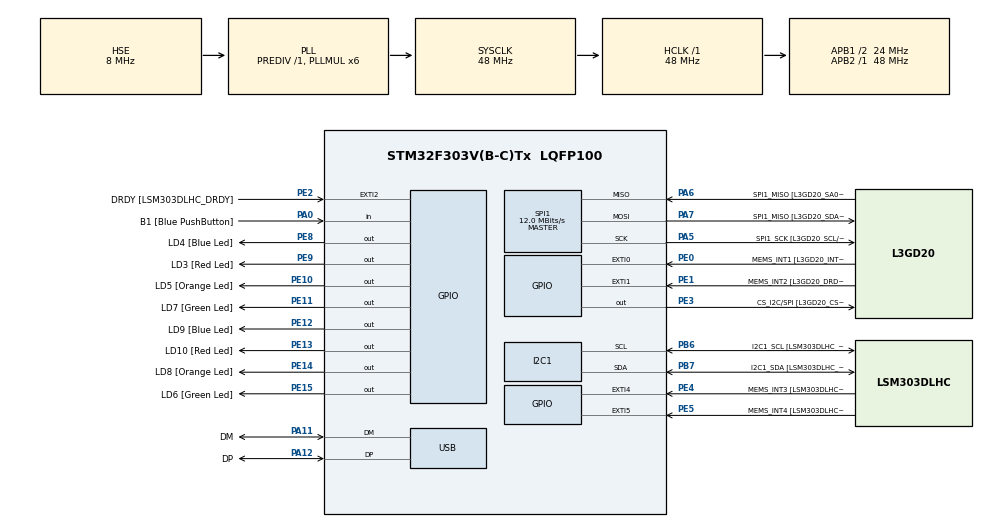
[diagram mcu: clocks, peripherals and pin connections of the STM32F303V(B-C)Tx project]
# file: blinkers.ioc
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I2C1.Timing-I2C=0x2000090E
Mcu.Family=STM32F3
Mcu.Name=STM32F303V(B-C)Tx
Mcu.Package=LQFP100
NVIC.PriorityGroup=NVIC_PRIORITYGROUP_0
PA0.GPIO_Label=B1 [Blue PushButton]
PA0.Signal=GPIO_Input
PA11.GPIO_Label=DM
PA11.Mode=Device
PA11.Signal=USB_DM
PA12.GPIO_Label=DP
PA12.Mode=Device
PA12.Signal=USB_DP
PA13.GPIO_Label=SWDIO
PA13.Mode=Serial_Wire
PA13.Signal=SYS_JTMS-SWDIO
PA14.GPIO_Label=SWCLK
PA14.Mode=Serial_Wire
PA14.Signal=SYS_JTCK-SWCLK
PA5.GPIO_Label=SPI1_SCK [L3GD20_SCL/SPC]
PA5.Mode=Full_Duplex_Master
PA5.Signal=SPI1_SCK
PA6.GPIO_Label=SPI1_MISO [L3GD20_SA0/SDO]
PA6.Mode=Full_Duplex_Master
PA6.Signal=SPI1_MISO
PA7.GPIO_Label=SPI1_MISO [L3GD20_SDA/SDI/SDO]
PA7.Mode=Full_Duplex_Master
PA7.Signal=SPI1_MOSI
PB3.GPIO_Label=SWO
PB3.Signal=SYS_JTDO-TRACESWO
PB6.GPIO_Label=I2C1_SCL [LSM303DLHC_SCL]
PB6.GPIO_Pu=GPIO_PULLUP
PB6.Mode=I2C
PB6.Signal=I2C1_SCL
PB7.GPIO_Label=I2C1_SDA [LSM303DLHC_SDA]
PB7.GPIO_Pu=GPIO_PULLUP
PB7.Mode=I2C
PB7.Signal=I2C1_SDA
PC14-OSC32_IN.GPIO_Label=OSC32_IN
PC14-OSC32_IN.Signal=RCC_OSC32_IN
PC15-OSC32_OUT.GPIO_Label=OSC32_OUT
PC15-OSC32_OUT.Signal=RCC_OSC32_OUT
PE0.GPIO_Label=MEMS_INT1 [L3GD20_INT1]
PE0.GPIO_ModeDefaultEXTI=GPIO_MODE_EVT_RISING
PE0.Signal=GPXTI0
PE1.GPIO_Label=MEMS_INT2 [L3GD20_DRDY/INT2]
PE1.GPIO_ModeDefaultEXTI=GPIO_MODE_EVT_RISING
PE1.Signal=GPXTI1
PE10.GPIO_Label=LD5 [Orange Led]
PE10.Signal=GPIO_Output
PE11.GPIO_Label=LD7 [Green Led]
PE11.Signal=GPIO_Output
PE12.GPIO_Label=LD9 [Blue Led]
PE12.Signal=GPIO_Output
PE13.GPIO_Label=LD10 [Red Led]
PE13.Signal=GPIO_Output
PE14.GPIO_Label=LD8 [Orange Led]
PE14.Signal=GPIO_Output
PE15.GPIO_Label=LD6 [Green Led]
PE15.Signal=GPIO_Output
PE2.GPIO_Label=DRDY [LSM303DLHC_DRDY]
PE2.GPIO_ModeDefaultEXTI=GPIO_MODE_EVT_RISING
PE2.Signal=GPXTI2
PE3.GPIO_Label=CS_I2C/SPI [L3GD20_CS_I2C/SPI]
PE3.Signal=GPIO_Output
PE4.GPIO_Label=MEMS_INT3 [LSM303DLHC_INT1]
PE4.GPIO_ModeDefaultEXTI=GPIO_MODE_EVT_RISING
PE4.Signal=GPXTI4
PE5.GPIO_Label=MEMS_INT4 [LSM303DLHC_INT2]
PE5.GPIO_ModeDefaultEXTI=GPIO_MODE_EVT_RISING
PE5.Signal=GPXTI5
PE8.GPIO_Label=LD4 [Blue Led]
PE8.Signal=GPIO_Output
PE9.GPIO_Label=LD3 [Red Led]
PE9.Signal=GPIO_Output
PF0-OSC_IN.GPIO_Label=OSC_IN
PF0-OSC_IN.Mode=HSE-External-Clock-Source
PF0-OSC_IN.Signal=RCC_OSC_IN
PF1-OSC_OUT.GPIO_Label=OSC_OUT
PF1-OSC_OUT.Signal=RCC_OSC_OUT
ProjectManager.HeapSize=0x200
ProjectManager.StackSize=0x400
ProjectManager.TargetToolchain=STM32CubeIDE
RCC.AHBFreq_Value=48000000
RCC.APB1CLKDivider=RCC_HCLK_DIV2
RCC.APB1Freq_Value=24000000
RCC.APB1TimFreq_Value=48000000
RCC.APB2Freq_Value=48000000
RCC.APB2TimFreq_Value=48000000
RCC.CortexFreq_Value=48000000
RCC.HCLKFreq_Value=48000000
RCC.HSE_VALUE=8000000
RCC.HSI_VALUE=8000000
RCC.LSE_VALUE=32768
RCC.PLLMUL=RCC_PLL_MUL6
RCC.SYSCLKFreq_VALUE=48000000
RCC.SYSCLKSourceVirtual=RCC_SYSCLKSOURCE_PLLCLK
RCC.USBFreq_Value=48000000
SPI1.BaudRatePrescaler=SPI_BAUDRATEPRESCALER_4
SPI1.BaudRatePrescaler-Full_Duplex_Master=SPI_BAUDRATEPRESCALER_2
SPI1.CalculateBaudRate=12.0 MBits/s
SPI1.CalculateBaudRate-Full_Duplex_Master=24.0 MBits/s
SPI1.Direction=SPI_DIRECTION_2LINES
SPI1.Mode=SPI_MODE_MASTER
SPI1.Mode-Full_Duplex_Master=SPI_MODE_MASTER
SPI1.VirtualType=VM_MASTER
board=STM32F3DISCOVERY

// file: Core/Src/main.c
/* USER CODE BEGIN Header */
/**
 ******************************************************************************
 * @file           : main.c
 * @brief          : Main program body
 ******************************************************************************
 * @attention
 *
 * Copyright (c) 2023 STMicroelectronics.
 * All rights reserved.
 *
 * This software is licensed under terms that can be found in the LICENSE file
 * in the root directory of this software component.
 * If no LICENSE file comes with this software, it is provided AS-IS.
 *
 ******************************************************************************
 */
/* USER CODE END Header */
#include "main.h"

I2C_HandleTypeDef hi2c1;

SPI_HandleTypeDef hspi1;

PCD_HandleTypeDef hpcd_USB_FS;

void SystemClock_Config(void);
static void MX_GPIO_Init(void);
static void MX_I2C1_Init(void);
static void MX_SPI1_Init(void);
static void MX_USB_PCD_Init(void);

int main(void)
{

	/* MCU Configuration--------------------------------------------------------*/

	/* Reset of all peripherals, Initializes the Flash interface and the Systick. */
	HAL_Init();

	/* Configure the system clock */
	SystemClock_Config();

	/* Initialize all configured peripherals */
	MX_GPIO_Init();
	MX_I2C1_Init();
	MX_SPI1_Init();
	MX_USB_PCD_Init();

	/* Infinite loop */
	/* USER CODE BEGIN WHILE */
	while (1)
	{
		int8_t i;

		HAL_GPIO_TogglePin( GPIOE, GPIO_PIN_9);
		HAL_Delay(500);
		HAL_GPIO_TogglePin(GPIOE, GPIO_PIN_11);
		HAL_Delay(500);
		HAL_GPIO_TogglePin(GPIOE, GPIO_PIN_13);
		HAL_Delay(500);
		HAL_GPIO_TogglePin(GPIOE, GPIO_PIN_15);
		HAL_Delay(500);
		HAL_GPIO_TogglePin(GPIOE, GPIO_PIN_15);
		HAL_Delay(100);
		HAL_GPIO_TogglePin(GPIOE, GPIO_PIN_13);
		HAL_Delay(100);
		HAL_GPIO_TogglePin(GPIOE, GPIO_PIN_11);
		HAL_Delay(100);
		HAL_GPIO_TogglePin(GPIOE, GPIO_PIN_9);
		HAL_Delay(1100);

		HAL_GPIO_TogglePin( GPIOE, GPIO_PIN_8);
		HAL_Delay(500);
		HAL_GPIO_TogglePin(GPIOE, GPIO_PIN_10);
		HAL_Delay(500);
		HAL_GPIO_TogglePin(GPIOE, GPIO_PIN_12);
		HAL_Delay(500);
		HAL_GPIO_TogglePin(GPIOE, GPIO_PIN_14);
		HAL_Delay(500);
		HAL_GPIO_TogglePin(GPIOE, GPIO_PIN_14);
		HAL_Delay(100);
		HAL_GPIO_TogglePin(GPIOE, GPIO_PIN_12);
		HAL_Delay(100);
		HAL_GPIO_TogglePin(GPIOE, GPIO_PIN_10);
		HAL_Delay(100);
		HAL_GPIO_TogglePin(GPIOE, GPIO_PIN_8);
		HAL_Delay(1100);

        //spiral starting
		HAL_GPIO_TogglePin( GPIOE, GPIO_PIN_8);
		HAL_Delay(200);
		HAL_GPIO_TogglePin( GPIOE, GPIO_PIN_9);
		HAL_Delay(200);
		HAL_GPIO_TogglePin( GPIOE, GPIO_PIN_10);
		HAL_Delay(200);
		HAL_GPIO_TogglePin( GPIOE, GPIO_PIN_11);
		HAL_Delay(200);
		HAL_GPIO_TogglePin( GPIOE, GPIO_PIN_12);
		HAL_Delay(200);
		HAL_GPIO_TogglePin( GPIOE, GPIO_PIN_13);
		HAL_Delay(200);
		HAL_GPIO_TogglePin( GPIOE, GPIO_PIN_14);
		HAL_Delay(200);
		HAL_GPIO_TogglePin( GPIOE, GPIO_PIN_15);
		HAL_Delay(200);
        //spiral stopeing
		HAL_GPIO_TogglePin( GPIOE, GPIO_PIN_8);
		HAL_Delay(200);
		HAL_GPIO_TogglePin( GPIOE, GPIO_PIN_9);
		HAL_Delay(200);
		HAL_GPIO_TogglePin( GPIOE, GPIO_PIN_10);
		HAL_Delay(200);
		HAL_GPIO_TogglePin( GPIOE, GPIO_PIN_11);
		HAL_Delay(200);
		HAL_GPIO_TogglePin( GPIOE, GPIO_PIN_12);
		HAL_Delay(200);
		HAL_GPIO_TogglePin( GPIOE, GPIO_PIN_13);
		HAL_Delay(200);
		HAL_GPIO_TogglePin( GPIOE, GPIO_PIN_14);
		HAL_Delay(200);
		HAL_GPIO_TogglePin( GPIOE, GPIO_PIN_15);
		HAL_Delay(200);

		/* USER CODE END WHILE */

	}
}

void SystemClock_Config(void)
{
	RCC_OscInitTypeDef RCC_OscInitStruct =
	{ 0 };
	RCC_ClkInitTypeDef RCC_ClkInitStruct =
	{ 0 };
	RCC_PeriphCLKInitTypeDef PeriphClkInit =
	{ 0 };

	/** Initializes the RCC Oscillators according to the specified parameters
	 * in the RCC_OscInitTypeDef structure.
	 */
	RCC_OscInitStruct.OscillatorType = RCC_OSCILLATORTYPE_HSI
			| RCC_OSCILLATORTYPE_HSE;
	RCC_OscInitStruct.HSEState = RCC_HSE_BYPASS;
	RCC_OscInitStruct.HSEPredivValue = RCC_HSE_PREDIV_DIV1;
	RCC_OscInitStruct.HSIState = RCC_HSI_ON;
	RCC_OscInitStruct.HSICalibrationValue = RCC_HSICALIBRATION_DEFAULT;
	RCC_OscInitStruct.PLL.PLLState = RCC_PLL_ON;
	RCC_OscInitStruct.PLL.PLLSource = RCC_PLLSOURCE_HSE;
	RCC_OscInitStruct.PLL.PLLMUL = RCC_PLL_MUL6;
	if (HAL_RCC_OscConfig(&RCC_OscInitStruct) != HAL_OK)
	{
		Error_Handler();
	}

	/** Initializes the CPU, AHB and APB buses clocks
	 */
	RCC_ClkInitStruct.ClockType = RCC_CLOCKTYPE_HCLK | RCC_CLOCKTYPE_SYSCLK
			| RCC_CLOCKTYPE_PCLK1 | RCC_CLOCKTYPE_PCLK2;
	RCC_ClkInitStruct.SYSCLKSource = RCC_SYSCLKSOURCE_PLLCLK;
	RCC_ClkInitStruct.AHBCLKDivider = RCC_SYSCLK_DIV1;
	RCC_ClkInitStruct.APB1CLKDivider = RCC_HCLK_DIV2;
	RCC_ClkInitStruct.APB2CLKDivider = RCC_HCLK_DIV1;

	if (HAL_RCC_ClockConfig(&RCC_ClkInitStruct, FLASH_LATENCY_1) != HAL_OK)
	{
		Error_Handler();
	}
	PeriphClkInit.PeriphClockSelection = RCC_PERIPHCLK_USB | RCC_PERIPHCLK_I2C1;
	PeriphClkInit.I2c1ClockSelection = RCC_I2C1CLKSOURCE_HSI;
	PeriphClkInit.USBClockSelection = RCC_USBCLKSOURCE_PLL;
	if (HAL_RCCEx_PeriphCLKConfig(&PeriphClkInit) != HAL_OK)
	{
		Error_Handler();
	}
}

static void MX_I2C1_Init(void)
{

	hi2c1.Instance = I2C1;
	hi2c1.Init.Timing = 0x2000090E;
	hi2c1.Init.OwnAddress1 = 0;
	hi2c1.Init.AddressingMode = I2C_ADDRESSINGMODE_7BIT;
	hi2c1.Init.DualAddressMode = I2C_DUALADDRESS_DISABLE;
	hi2c1.Init.OwnAddress2 = 0;
	hi2c1.Init.OwnAddress2Masks = I2C_OA2_NOMASK;
	hi2c1.Init.GeneralCallMode = I2C_GENERALCALL_DISABLE;
	hi2c1.Init.NoStretchMode = I2C_NOSTRETCH_DISABLE;
	if (HAL_I2C_Init(&hi2c1) != HAL_OK)
	{
		Error_Handler();
	}

	/** Configure Analogue filter
	 */
	if (HAL_I2CEx_ConfigAnalogFilter(&hi2c1, I2C_ANALOGFILTER_ENABLE) != HAL_OK)
	{
		Error_Handler();
	}

	/** Configure Digital filter
	 */
	if (HAL_I2CEx_ConfigDigitalFilter(&hi2c1, 0) != HAL_OK)
	{
		Error_Handler();
	}

}

static void MX_SPI1_Init(void)
{

	/* SPI1 parameter configuration*/
	hspi1.Instance = SPI1;
	hspi1.Init.Mode = SPI_MODE_MASTER;
	hspi1.Init.Direction = SPI_DIRECTION_2LINES;
	hspi1.Init.DataSize = SPI_DATASIZE_4BIT;
	hspi1.Init.CLKPolarity = SPI_POLARITY_LOW;
	hspi1.Init.CLKPhase = SPI_PHASE_1EDGE;
	hspi1.Init.NSS = SPI_NSS_SOFT;
	hspi1.Init.BaudRatePrescaler = SPI_BAUDRATEPRESCALER_4;
	hspi1.Init.FirstBit = SPI_FIRSTBIT_MSB;
	hspi1.Init.TIMode = SPI_TIMODE_DISABLE;
	hspi1.Init.CRCCalculation = SPI_CRCCALCULATION_DISABLE;
	hspi1.Init.CRCPolynomial = 7;
	hspi1.Init.CRCLength = SPI_CRC_LENGTH_DATASIZE;
	hspi1.Init.NSSPMode = SPI_NSS_PULSE_ENABLE;
	if (HAL_SPI_Init(&hspi1) != HAL_OK)
	{
		Error_Handler();
	}

}

static void MX_USB_PCD_Init(void)
{

	hpcd_USB_FS.Instance = USB;
	hpcd_USB_FS.Init.dev_endpoints = 8;
	hpcd_USB_FS.Init.speed = PCD_SPEED_FULL;
	hpcd_USB_FS.Init.phy_itface = PCD_PHY_EMBEDDED;
	hpcd_USB_FS.Init.low_power_enable = DISABLE;
	hpcd_USB_FS.Init.battery_charging_enable = DISABLE;
	if (HAL_PCD_Init(&hpcd_USB_FS) != HAL_OK)
	{
		Error_Handler();
	}

}

static void MX_GPIO_Init(void)
{
	GPIO_InitTypeDef GPIO_InitStruct =
	{ 0 };

	/* GPIO Ports Clock Enable */
	__HAL_RCC_GPIOE_CLK_ENABLE();
	__HAL_RCC_GPIOC_CLK_ENABLE();
	__HAL_RCC_GPIOF_CLK_ENABLE();
	__HAL_RCC_GPIOA_CLK_ENABLE();
	__HAL_RCC_GPIOB_CLK_ENABLE();

	/*Configure GPIO pin Output Level */
	HAL_GPIO_WritePin(GPIOE,
			CS_I2C_SPI_Pin | LD4_Pin | LD3_Pin | LD5_Pin | LD7_Pin | LD9_Pin
					| LD10_Pin | LD8_Pin | LD6_Pin, GPIO_PIN_RESET);

	/*Configure GPIO pins : DRDY_Pin MEMS_INT3_Pin MEMS_INT4_Pin MEMS_INT1_Pin
	 MEMS_INT2_Pin */
	GPIO_InitStruct.Pin = DRDY_Pin | MEMS_INT3_Pin | MEMS_INT4_Pin
			| MEMS_INT1_Pin | MEMS_INT2_Pin;
	GPIO_InitStruct.Mode = GPIO_MODE_EVT_RISING;
	GPIO_InitStruct.Pull = GPIO_NOPULL;
	HAL_GPIO_Init(GPIOE, &GPIO_InitStruct);

	/*Configure GPIO pins : CS_I2C_SPI_Pin LD4_Pin LD3_Pin LD5_Pin
	 LD7_Pin LD9_Pin LD10_Pin LD8_Pin
	 LD6_Pin */
	GPIO_InitStruct.Pin = CS_I2C_SPI_Pin | LD4_Pin | LD3_Pin | LD5_Pin | LD7_Pin
			| LD9_Pin | LD10_Pin | LD8_Pin | LD6_Pin;
	GPIO_InitStruct.Mode = GPIO_MODE_OUTPUT_PP;
	GPIO_InitStruct.Pull = GPIO_NOPULL;
	GPIO_InitStruct.Speed = GPIO_SPEED_FREQ_LOW;
	HAL_GPIO_Init(GPIOE, &GPIO_InitStruct);

	/*Configure GPIO pin : B1_Pin */
	GPIO_InitStruct.Pin = B1_Pin;
	GPIO_InitStruct.Mode = GPIO_MODE_INPUT;
	GPIO_InitStruct.Pull = GPIO_NOPULL;
	HAL_GPIO_Init(B1_GPIO_Port, &GPIO_InitStruct);

}

void Error_Handler(void)
{
	__disable_irq();
	while (1)
	{
	}
}
